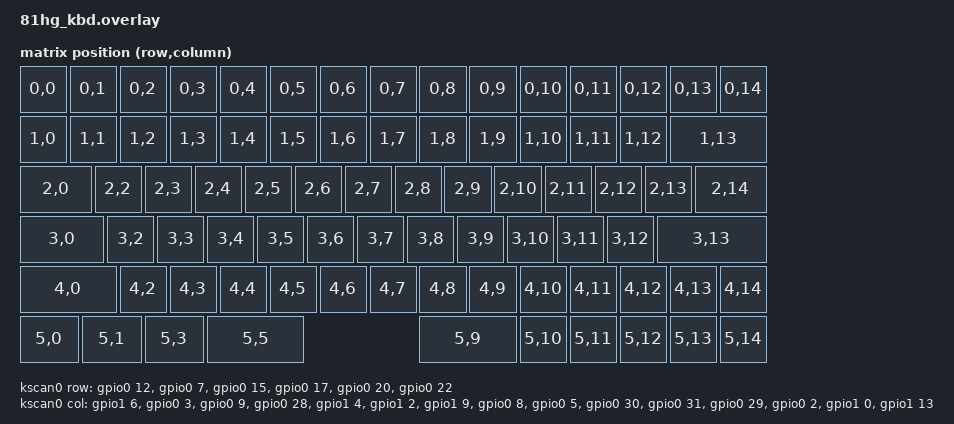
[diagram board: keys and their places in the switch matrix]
#include <dt-bindings/zmk/matrix_transform.h>
#include <physical_layouts.dtsi>
#include <zephyr/dt-bindings/adc/adc.h>
#include <zephyr/dt-bindings/adc/nrf-saadc.h>

/ {
    chosen {
        zmk,kscan = &kscan0;
        zmk,physical-layout = &physical_layout;
        zmk,battery = &vbatt;
    };

    kscan0: kscan_0 {
        compatible = "zmk,kscan-gpio-matrix";
        label = "KSCAN";
        diode-direction = "col2row";
        wakeup-source;

        row-gpios
            = <&gpio0 12 (GPIO_ACTIVE_HIGH | GPIO_PULL_DOWN)>  // ROW0 - p0.12
            , <&gpio0 7  (GPIO_ACTIVE_HIGH | GPIO_PULL_DOWN)>  // ROW1 - p0.07
            , <&gpio0 15 (GPIO_ACTIVE_HIGH | GPIO_PULL_DOWN)>  // ROW2 - p0.15
            , <&gpio0 17 (GPIO_ACTIVE_HIGH | GPIO_PULL_DOWN)>  // ROW3 - p0.17
            , <&gpio0 20 (GPIO_ACTIVE_HIGH | GPIO_PULL_DOWN)>  // ROW4 - p0.20
            , <&gpio0 22 (GPIO_ACTIVE_HIGH | GPIO_PULL_DOWN)>  // ROW5 - p0.22
            ;

        col-gpios
            = <&gpio1 6  GPIO_ACTIVE_HIGH>  // COL0  - P1.06
            , <&gpio0 3  GPIO_ACTIVE_HIGH>  // COL1  - P0.03
            , <&gpio0 9  GPIO_ACTIVE_HIGH>  // COL2  - P0.09
            , <&gpio0 28 GPIO_ACTIVE_HIGH>  // COL3  - P0.28
            , <&gpio1 4  GPIO_ACTIVE_HIGH>  // COL4  - P1.04
            , <&gpio1 2  GPIO_ACTIVE_HIGH>  // COL5  - P1.02
            , <&gpio1 9  GPIO_ACTIVE_HIGH>  // COL6  - P1.09
            , <&gpio0 8  GPIO_ACTIVE_HIGH>  // COL7  - P0.08
            , <&gpio0 5  GPIO_ACTIVE_HIGH>  // COL8  - P0.05
            , <&gpio0 30 GPIO_ACTIVE_HIGH>  // COL9  - P0.30
            , <&gpio0 31 GPIO_ACTIVE_HIGH>  // COL10 - P0.31
            , <&gpio0 29 GPIO_ACTIVE_HIGH>  // COL11 - P0.29
            , <&gpio0 2  GPIO_ACTIVE_HIGH>  // COL12 - P0.02
            , <&gpio1 0  GPIO_ACTIVE_HIGH>  // COL13 - P1.00
            , <&gpio1 13 GPIO_ACTIVE_HIGH>  // COL14 - P1.13
            ;
    };

    default_transform: matrix_transform {
        compatible = "zmk,matrix-transform";
        rows = <6>;
        columns = <15>;

        map = <
            RC(0,0)  RC(0,1)  RC(0,2)  RC(0,3)  RC(0,4)  RC(0,5)  RC(0,6)  RC(0,7)  RC(0,8)  RC(0,9)  RC(0,10) RC(0,11) RC(0,12) RC(0,13) RC(0,14)
            RC(1,0)  RC(1,1)  RC(1,2)  RC(1,3)  RC(1,4)  RC(1,5)  RC(1,6)  RC(1,7)  RC(1,8)  RC(1,9)  RC(1,10) RC(1,11) RC(1,12) RC(1,13)
            RC(2,0)  RC(2,2)  RC(2,3)  RC(2,4)  RC(2,5)  RC(2,6)  RC(2,7)  RC(2,8)  RC(2,9)  RC(2,10)  RC(2,11) RC(2,12) RC(2,13) RC(2,14)
            RC(3,0)  RC(3,2)  RC(3,3)  RC(3,4)  RC(3,5)  RC(3,6)  RC(3,7)  RC(3,8)  RC(3,9)  RC(3,10)  RC(3,11) RC(3,12) RC(3,13)
            RC(4,0)  RC(4,2)  RC(4,3)  RC(4,4)  RC(4,5)  RC(4,6)  RC(4,7)  RC(4,8)  RC(4,9)  RC(4,10)  RC(4,11) RC(4,12) RC(4,13) RC(4,14)
            RC(5,0)  RC(5,1)  RC(5,3)  RC(5,5)  RC(5,9)  RC(5,10)  RC(5,11)  RC(5,12)  RC(5,13)  RC(5,14)
        >;
    };

    physical_layout: physical_layout {
        compatible = "zmk,physical-layout";
        display-name = "Default";
        transform = <&default_transform>;

        keys  //                     w   h    x    y     rot    rx    ry
            = <&key_physical_attrs 100 100    0    0       0     0     0>
            , <&key_physical_attrs 100 100  100    0       0     0     0>
            , <&key_physical_attrs 100 100  200    0       0     0     0>
            , <&key_physical_attrs 100 100  300    0       0     0     0>
            , <&key_physical_attrs 100 100  400    0       0     0     0>
            , <&key_physical_attrs 100 100  500    0       0     0     0>
            , <&key_physical_attrs 100 100  600    0       0     0     0>
            , <&key_physical_attrs 100 100  700    0       0     0     0>
            , <&key_physical_attrs 100 100  800    0       0     0     0>
            , <&key_physical_attrs 100 100  900    0       0     0     0>
            , <&key_physical_attrs 100 100 1000    0       0     0     0>
            , <&key_physical_attrs 100 100 1100    0       0     0     0>
            , <&key_physical_attrs 100 100 1200    0       0     0     0>
            , <&key_physical_attrs 100 100 1300    0       0     0     0>
            , <&key_physical_attrs 100 100 1400    0       0     0     0>
            , <&key_physical_attrs 100 100    0  100       0     0     0>
            , <&key_physical_attrs 100 100  100  100       0     0     0>
            , <&key_physical_attrs 100 100  200  100       0     0     0>
            , <&key_physical_attrs 100 100  300  100       0     0     0>
            , <&key_physical_attrs 100 100  400  100       0     0     0>
            , <&key_physical_attrs 100 100  500  100       0     0     0>
            , <&key_physical_attrs 100 100  600  100       0     0     0>
            , <&key_physical_attrs 100 100  700  100       0     0     0>
            , <&key_physical_attrs 100 100  800  100       0     0     0>
            , <&key_physical_attrs 100 100  900  100       0     0     0>
            , <&key_physical_attrs 100 100 1000  100       0     0     0>
            , <&key_physical_attrs 100 100 1100  100       0     0     0>
            , <&key_physical_attrs 100 100 1200  100       0     0     0>
            , <&key_physical_attrs 200 100 1300  100       0     0     0>
            , <&key_physical_attrs 150 100    0  200       0     0     0>
            , <&key_physical_attrs 100 100  150  200       0     0     0>
            , <&key_physical_attrs 100 100  250  200       0     0     0>
            , <&key_physical_attrs 100 100  350  200       0     0     0>
            , <&key_physical_attrs 100 100  450  200       0     0     0>
            , <&key_physical_attrs 100 100  550  200       0     0     0>
            , <&key_physical_attrs 100 100  650  200       0     0     0>
            , <&key_physical_attrs 100 100  750  200       0     0     0>
            , <&key_physical_attrs 100 100  850  200       0     0     0>
            , <&key_physical_attrs 100 100  950  200       0     0     0>
            , <&key_physical_attrs 100 100 1050  200       0     0     0>
            , <&key_physical_attrs 100 100 1150  200       0     0     0>
            , <&key_physical_attrs 100 100 1250  200       0     0     0>
            , <&key_physical_attrs 150 100 1350  200       0     0     0>
            , <&key_physical_attrs 175 100    0  300       0     0     0>
            , <&key_physical_attrs 100 100  175  300       0     0     0>
            , <&key_physical_attrs 100 100  275  300       0     0     0>
            , <&key_physical_attrs 100 100  375  300       0     0     0>
            , <&key_physical_attrs 100 100  475  300       0     0     0>
            , <&key_physical_attrs 100 100  575  300       0     0     0>
            , <&key_physical_attrs 100 100  675  300       0     0     0>
            , <&key_physical_attrs 100 100  775  300       0     0     0>
            , <&key_physical_attrs 100 100  875  300       0     0     0>
            , <&key_physical_attrs 100 100  975  300       0     0     0>
            , <&key_physical_attrs 100 100 1075  300       0     0     0>
            , <&key_physical_attrs 100 100 1175  300       0     0     0>
            , <&key_physical_attrs 225 100 1275  300       0     0     0>
            , <&key_physical_attrs 200 100    0  400       0     0     0>
            , <&key_physical_attrs 100 100  200  400       0     0     0>
            , <&key_physical_attrs 100 100  300  400       0     0     0>
            , <&key_physical_attrs 100 100  400  400       0     0     0>
            , <&key_physical_attrs 100 100  500  400       0     0     0>
            , <&key_physical_attrs 100 100  600  400       0     0     0>
            , <&key_physical_attrs 100 100  700  400       0     0     0>
            , <&key_physical_attrs 100 100  800  400       0     0     0>
            , <&key_physical_attrs 100 100  900  400       0     0     0>
            , <&key_physical_attrs 100 100 1000  400       0     0     0>
            , <&key_physical_attrs 100 100 1100  400       0     0     0>
            , <&key_physical_attrs 100 100 1200  400       0     0     0>
            , <&key_physical_attrs 100 100 1300  400       0     0     0>
            , <&key_physical_attrs 100 100 1400  400       0     0     0>
            , <&key_physical_attrs 125 100    0  500       0     0     0>  
            , <&key_physical_attrs 125 100  125  500       0     0     0>  
            , <&key_physical_attrs 125 100  250  500       0     0     0>  
            , <&key_physical_attrs 200 100  375  500       0     0     0>  
            , <&key_physical_attrs 200 100  800  500       0     0     0> 
            , <&key_physical_attrs 100 100 1000  500       0     0     0>  
            , <&key_physical_attrs 100 100 1100  500       0     0     0>  
            , <&key_physical_attrs 100 100 1200  500       0     0     0>  
            , <&key_physical_attrs 100 100 1300  500       0     0     0>  
            , <&key_physical_attrs 100 100 1400  500       0     0     0> 
            ;
    };
};

/ {
    vbatt: vbatt {
        compatible = "zmk,battery-voltage-divider";
        io-channels = <&adc 2>;
        output-ohms = <470000>;
        full-ohms = <670000>;
    };
};

&adc {
    status = "okay";
};
